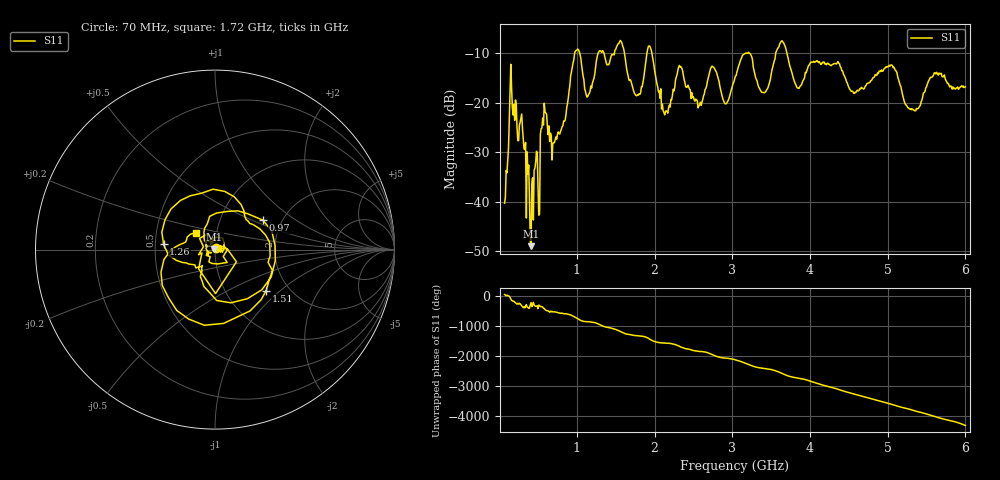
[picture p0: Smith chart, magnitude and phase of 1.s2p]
! S21 sweep bladeRF  2018-07-03T12:47:11
! Window=bharris  Blocks=64  Samples=2048  Method=median
! TX LUT = thru_txlut.csv
# Hz S DB R 50
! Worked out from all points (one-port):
!   594 points, 70 MHz to 6 GHz, reference 50 ohm
!   lowest |S11| = -49.0 dB at 410 MHz (marker M1), VSWR 1.01, Z = 49.7 + j0.184 ohm
!   |S11| at or under -10 dB: start of sweep to 971.5 MHz; 1.966 GHz to 3.173 GHz (1.207 GHz wide, 47 % of centre); 3.703 GHz to end of sweep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
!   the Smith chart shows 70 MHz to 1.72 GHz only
!   S11 on the Smith chart (normalised r, x): 70 MHz: 1.01, +0.02; 970 MHz: 1.60, +0.58; 1.26 GHz: 0.55, +0.04; 1.51 GHz: 1.53, -0.81; 1.72 GHz: 0.80, +0.15
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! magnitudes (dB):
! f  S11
! 70 MHz  -40.3
! 160 MHz  -17.1
! 290 MHz  -22.3
! 410 MHz  -49.0
! 520 MHz  -42.5
! 580 MHz  -20.1
! 820 MHz  -24.6
! 970 MHz  -10.1
! 1.14 GHz  -18.7
! 1.26 GHz  -10.8
! 1.51 GHz  -8.7
! 1.56 GHz  -7.4
! 1.72 GHz  -17.0
! 1.94 GHz  -8.6
! 2.15 GHz  -21.6
! 2.3 GHz  -13.4
! 2.58 GHz  -20.4
! 2.74 GHz  -12.6
! 2.91 GHz  -20.2
! 3.04 GHz  -14.6
! 3.22 GHz  -10.0
! 3.42 GHz  -17.9
! 3.64 GHz  -7.5
! 3.78 GHz  -14.7
! 4.52 GHz  -17.4
! 5.04 GHz  -12.4
! 5.26 GHz  -21.0
! 6 GHz  -16.8
